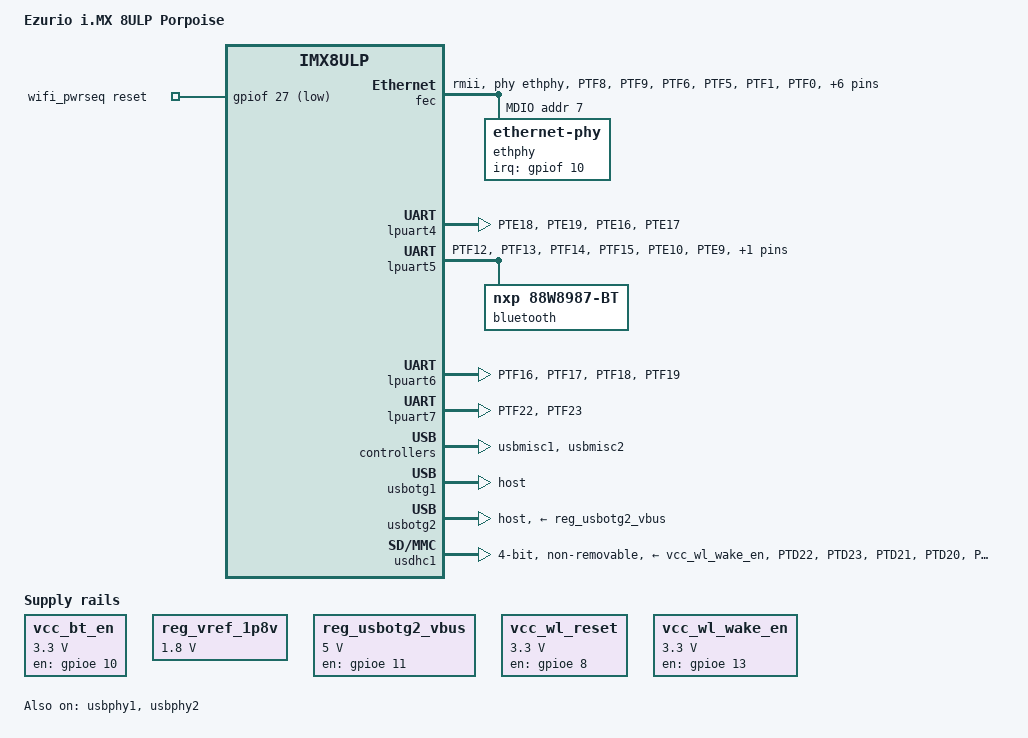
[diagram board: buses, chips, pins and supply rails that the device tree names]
// SPDX-License-Identifier: (GPL-2.0 OR MIT)
/*
 * Copyright 2024 Ezurio
 */

/dts-v1/;

#include "imx8ulp-nitrogen-som.dtsi"


/ {
	model = "Ezurio i.MX 8ULP Porpoise";
	compatible = "ezurio,imx8ulp-trimble-porpoise", "fsl,imx8ulp";

	chosen {
		stdout-path = &lpuart7;
		bootargs = "console=ttyLP3,115200 earlycon";
	};

	vcc_bt_en: regulator-bt-en {
		bootph-all;
		compatible = "regulator-fixed";
		regulator-name = "vcc_bt_en";
		regulator-min-microvolt = <3300000>;
		regulator-max-microvolt = <3300000>;
		regulator-boot-on;
		enable-active-high;
		gpios = <&gpioe 10 GPIO_ACTIVE_HIGH>; /* BT_EN */
	};

	reg_vref_1p8v: regulator-vref-1p8v {
		compatible = "regulator-fixed";
		regulator-name = "vref-1p8v";
		regulator-min-microvolt = <1800000>;
		regulator-max-microvolt = <1800000>;
	};

	reg_usbotg2_vbus: regulator-usbotg2-vbus {
		compatible = "regulator-fixed";
		pinctrl-names = "default";
		pinctrl-0 = <&pinctrl_reg_usbotg2_vbus>;
		regulator-name = "usb_otg2_vbus";
		regulator-min-microvolt = <5000000>;
		regulator-max-microvolt = <5000000>;
		regulator-boot-on;
		enable-active-high;
		gpio = <&gpioe 11 GPIO_ACTIVE_HIGH>; /* USB_VBUS_EN */
	};

	vcc_wl_reset: regulator-wl-reset-en {
		compatible = "regulator-fixed";
		pinctrl-names = "default";
		pinctrl-0 = <&pinctrl_main_wifi_reset>;
		regulator-name = "vcc_wl_reset";
		regulator-min-microvolt = <3300000>;
		regulator-max-microvolt = <3300000>;
		regulator-boot-on;
		enable-active-high;
		gpios = <&gpioe 8 GPIO_ACTIVE_HIGH>; /* WIFI_RESET */
	};

	vcc_wl_wake_en: regulator-wl-wake-en {
		compatible = "regulator-fixed";
		pinctrl-names = "default";
		pinctrl-0 = <&pinctrl_main_wifi_wake>;
		regulator-name = "vcc_wl_wake_en";
		regulator-min-microvolt = <3300000>;
		regulator-max-microvolt = <3300000>;
		regulator-boot-on;
		enable-active-high;
		gpios = <&gpioe 13 GPIO_ACTIVE_HIGH>; /* WL_WAKE_IN */
	};

	wifi_pwrseq: wifi-pwrseq {
		compatible = "mmc-pwrseq-simple";
		pinctrl-names = "default";
		pinctrl-0 = <&pinctrl_main_wifi_en>;
		reset-gpios = <&gpiof 27 GPIO_ACTIVE_LOW>; /* WIFI_PDn */
		post-power-on-delay-ms = <100>;
		status = "okay";
	};
};

&fec {
	pinctrl-names = "default";
	pinctrl-0 = <&pinctrl_fec>;
	clocks = <&cgc1 IMX8ULP_CLK_XBAR_DIVBUS>,
		 <&pcc4 IMX8ULP_CLK_ENET>,
		 <&cgc1 IMX8ULP_CLK_ENET_TS_SEL>;
	clock-names = "ipg", "ahb", "ptp";
	phy-mode = "rmii";
	phy-handle = <&ethphy>;
	status = "okay";
#if 0
	phy-reset-gpios = <&gpiof 11 GPIO_ACTIVE_LOW>; /* PHY_RST */
#endif

	mdio {
		#address-cells = <1>;
		#size-cells = <0>;

		ethphy: ethernet-phy@7 {
			interrupts-extended = <&gpiof 10 IRQ_TYPE_LEVEL_LOW>; /* PHY_INT */
			reg = <7>;
		};
	};
};

&gpiod {
	gpio-line-names = "", "", "", "", "", 						/* 0-4 */
			"", "", "", "", "",						/* 5-9 */
			"", "WAKE_RADIO", "Fastboot", "ENA_MOD", "STAT",		/* 10-14 */
			"SERVICE", "BAND_MODE", "TX_ON", "", "",			/* 15-19 */
			"", "", "", "";							/* 20-23 */
};

&gpioe {
	gpio-line-names = "", "", "", "", "",						/* 0-4 */
			"", "WL_IRQ", "STM_USART_EN", "WIFI_RESET", "BT_HOST_WAKE",	/* 5-9 */
			"BT_EN", "USB_VBUS_EN", "BT_WAKE_IN", "WL_WAKE_IN", "HW_RST",	/* 10-14 */
			"HW_WAKE", "", "", "", "",					/* 15-19 */
			"LYRA_RST", "LYRA_BOOT", "HW_BUSY", "MIKI_VCCIO_EN";		/* 20-23 */
};

&gpiof {
	gpio-line-names = "", "", "", "", "",   					/* 0-4 */
			"", "", "", "", "",						/* 5-9 */
			"PHY_INT", "PHY_RST", "", "", "",				/* 10-14 */
			"", "", "", "", "", 						/* 15-19 */
			"STM_RESET", "PH3_BOOT", "", "", "Single_Ant_Port_EN1",		/* 20-24 */
			"8ULP_LTE_SHDN", "1pps_EN", "WIFI_PDn", "WL_WAKE_OUT", "TP13",	/* 25-29 */
			"USB_SW", "TP16";						/* 30-31 */
};

&haptics {
	status = "disabled";
};

&hd3ss3220 {
	status = "disabled";
};

&lpi2c5 {
	status = "disabled";
};

&lpi2c6 {
	status = "disabled";
};

&iomuxc1 {
	/delete-property/ pinctrl_hog_som; /* Override imx8ulp-nitrogen-som.dtsi */

	pinctrl_hog_som: hog-somgrp {
		fsl,pins = <
			MX8ULP_PAD_PTD11__PTD11		0x03	/* WAKE_RADIO */
			MX8ULP_PAD_PTD12__PTD12		0x03	/* Fastboot */
			MX8ULP_PAD_PTD13__PTD13		0x03	/* ENA_MOD */
			MX8ULP_PAD_PTD14__PTD14		0x03	/* STAT */
			MX8ULP_PAD_PTD15__PTD15		0x03	/* SERVICE */
			MX8ULP_PAD_PTD16__PTD16		0x03	/* BAND_MODE */
			MX8ULP_PAD_PTD17__PTD17		0x03	/* TX_ON */

			MX8ULP_PAD_PTE7__PTE7		0x03	/* STM_USART_EN */
			MX8ULP_PAD_PTE23__PTE23		0x03	/* MIKI_VCCIO_EN */

			/* LYRA */
			MX8ULP_PAD_PTE20__PTE20		0x03	/* LYRA_RST */
			MX8ULP_PAD_PTE21__PTE21		0x03	/* LYRA_BOOT */
			MX8ULP_PAD_PTF26__PTF26		0x03	/* 1pps_EN */

			MX8ULP_PAD_PTF29__PTF29		0x7	/* TP13 */
			MX8ULP_PAD_PTF30__PTF30		0x7	/* USB_SW */
			MX8ULP_PAD_PTF31__PTF31		0x7	/* TP16 */

			MX8ULP_PAD_PTF20__PTF20		0x02	/* STM_RESET (pull-down ) */
			MX8ULP_PAD_PTF21__PTF21		0x03	/* PH3_BOOT */
			MX8ULP_PAD_PTF24__PTF24		0x03	/* Single_Ant_Port_EN1 */
			MX8ULP_PAD_PTF25__PTF25		0x03	/* 8ULP_LTE_SHDN */
		>;
	};

	pinctrl_bt: btgrp {
		fsl,pins = <
			MX8ULP_PAD_PTE10__PTE10		0x03	/* BT_EN */
			MX8ULP_PAD_PTE9__PTE9		0x03	/* BT_HOST_WAKE */
			MX8ULP_PAD_PTE12__PTE12		0x03	/* BT_WAKE_IN */
		>;
	};

	pinctrl_fec: fecgrp {
		fsl,pins = <
			MX8ULP_PAD_PTF8__ENET0_MDIO	0x43
			MX8ULP_PAD_PTF9__ENET0_MDC	0x43
			MX8ULP_PAD_PTF6__ENET0_CRS_DV	0x43
			MX8ULP_PAD_PTF5__ENET0_RXER	0x43
			MX8ULP_PAD_PTF1__ENET0_RXD0	0x43
			MX8ULP_PAD_PTF0__ENET0_RXD1	0x43
			MX8ULP_PAD_PTF4__ENET0_TXEN	0x43
			MX8ULP_PAD_PTF3__ENET0_TXD0	0x43
			MX8ULP_PAD_PTF2__ENET0_TXD1	0x43
			MX8ULP_PAD_PTF7__ENET0_REFCLK	0x10043
			MX8ULP_PAD_PTF11__PTF11		0x7
			MX8ULP_PAD_PTF10__PTF10		0x7
		>;
	};

	pinctrl_lpuart4: lpuart4grp {
		fsl,pins = <
			MX8ULP_PAD_PTE18__LPUART4_TX	0x03
			MX8ULP_PAD_PTE19__LPUART4_RX	0x03
			MX8ULP_PAD_PTE16__LPUART4_CTS_B	0x03
			MX8ULP_PAD_PTE17__LPUART4_RTS_B 0x03
		>;
	};

	pinctrl_lpuart5: lpuart5grp {
		fsl,pins = <
			MX8ULP_PAD_PTF12__LPUART5_CTS_B	0x03
			MX8ULP_PAD_PTF13__LPUART5_RTS_B	0x03
			MX8ULP_PAD_PTF14__LPUART5_TX	0x03
			MX8ULP_PAD_PTF15__LPUART5_RX	0x03
		>;
	};

	pinctrl_lpuart6: lpuart6grp {
		fsl,pins = <
			MX8ULP_PAD_PTF16__LPUART6_CTS_B	0x03
			MX8ULP_PAD_PTF17__LPUART6_RTS_B	0x03
			MX8ULP_PAD_PTF18__LPUART6_TX	0x03
			MX8ULP_PAD_PTF19__LPUART6_RX	0x03
		>;
	};

	pinctrl_lpuart7: lpuart7grp {
		fsl,pins = <
			MX8ULP_PAD_PTF22__LPUART7_TX	0x03
			MX8ULP_PAD_PTF23__LPUART7_RX	0x03
		>;
	};

	pinctrl_usdhc1: usdhc1grp {
		fsl,pins = <
			MX8ULP_PAD_PTD22__SDHC1_CLK	0x10002
			MX8ULP_PAD_PTD23__SDHC1_CMD	0x03
			MX8ULP_PAD_PTD21__SDHC1_D0	0x03
			MX8ULP_PAD_PTD20__SDHC1_D1	0x03
			MX8ULP_PAD_PTD19__SDHC1_D2	0x03
			MX8ULP_PAD_PTD18__SDHC1_D3	0x03
		>;
	};

	pinctrl_usdhc2: usdhc2grp {
		fsl,pins = <
			MX8ULP_PAD_PTE2__SDHC2_CLK	0x10002
			MX8ULP_PAD_PTE3__SDHC2_CMD	0x03
			MX8ULP_PAD_PTE1__SDHC2_D0	0x03
			MX8ULP_PAD_PTE0__SDHC2_D1	0x03
			MX8ULP_PAD_PTE5__SDHC2_D2	0x03
			MX8ULP_PAD_PTE4__SDHC2_D3	0x03
		>;
	};

	pinctrl_main_wifi: wifigrp {
		fsl,pins = <
			MX8ULP_PAD_PTE6__PTE6		0x03	/* WL_IRQ */
		>;
	};

	pinctrl_main_wifi_en: mainwifiengrp {
		fsl,pins = <
			MX8ULP_PAD_PTF27__PTF27		0x03	/* WIFI_PDn */
		>;
	};

	pinctrl_main_wifi_reset: mainwifiresetgrp {
		fsl,pins = <
			MX8ULP_PAD_PTE8__PTE8		0x03	/* WIFI_RESET */
		>;
	};

	pinctrl_main_wifi_wake: mainwifiwakeingrp {
		fsl,pins = <
			MX8ULP_PAD_PTE13__PTE13		0x03	/* WL_WAKE_IN */
			MX8ULP_PAD_PTF28__PTF28		0x03	/* WL_WAKE_OUT */
		>;
	};

	pinctrl_reg_usbotg2_vbus: regusbotg2vbusgrp {
		fsl,pins = <
			MX8ULP_PAD_PTE11__PTE11		0x03	/* USB_VBUS_EN */
		>;
	};

	pinctrl_sxsdmah: mm610xgrp {
		fsl,pins = <
			MX8ULP_PAD_PTE14__PTE14		0x03	/* HW_RST */
			MX8ULP_PAD_PTE15__PTE15		0x03	/* HW_WAKE */
			MX8ULP_PAD_PTE22__PTE22		0x03	/* HW_BUSY */
		>;
	};
};

&lpuart4 {
	/* ttyLP0 M_UART (B2B) */
	pinctrl-names = "default", "sleep";
	pinctrl-0 = <&pinctrl_lpuart4>;
	pinctrl-1 = <&pinctrl_lpuart4>;
	uart-has-rtscts;
	status = "okay";
};

&lpuart5 {
	/* ttyLP1 NX611 BT */
	pinctrl-names = "default", "sleep";
	pinctrl-0 = <&pinctrl_lpuart5>,<&pinctrl_bt>;
	pinctrl-1 = <&pinctrl_lpuart5>,<&pinctrl_bt>;
	uart-has-rtscts;
	status = "okay";

	bluetooth {
		compatible = "nxp,88w8987-bt";
	};
};

&lpuart6 {
	/* ttyLP2 ZIF(UHF) */
	pinctrl-names = "default", "sleep";
	pinctrl-0 = <&pinctrl_lpuart6>;
	pinctrl-1 = <&pinctrl_lpuart6>;
	uart-has-rtscts;
	status = "okay";
};

&lpuart7 {
	/* ttyLP3 console */
	/delete-property/ dmas;
	/delete-property/ dma-names;
	pinctrl-names = "default", "sleep";
	pinctrl-0 = <&pinctrl_lpuart7>;
	pinctrl-1 = <&pinctrl_lpuart7>;
	status = "okay";
};

&usbmisc1 {
	status = "okay";
};

&usbotg1 { /* USB0 / MAIN_USB (ZIF) */
	dr_mode = "host";
	status = "okay";
};

&usbphy1 {
	fsl,tx-d-cal = <88>;
	status = "okay";
};

&usbmisc2 {
	status = "okay";
};

&usbotg2 { /* USB1 / LTE_USB (B2B) */
	dr_mode = "host";
	status = "okay";
	vbus-supply = <&reg_usbotg2_vbus>;
};

&usbphy2 {
	fsl,tx-d-cal = <88>;
	status = "okay";
};

&usdhc1 { /* Wifi NX611 */
	bus-width = <4>;
	non-removable;
	pinctrl-names = "default", "state_100mhz", "state_200mhz";
	pinctrl-0 = <&pinctrl_usdhc1>,<&pinctrl_main_wifi>;
	pinctrl-1 = <&pinctrl_usdhc1>,<&pinctrl_main_wifi>;
	pinctrl-2 = <&pinctrl_usdhc1>,<&pinctrl_main_wifi>;
	vmmc-supply = <&vcc_wl_wake_en>; /* WL_WAKE_IN */
	vqmmc-supply = <&reg_vref_1p8v>;
	mmc-pwrseq = <&wifi_pwrseq>; /* WIFI_PDn */
	non-removable;
	status = "okay";
};

&usdhc2 { /* Wifi Halow */
	#address-cells = <1>;
	#size-cells = <0>;
	bus-width = <4>;
	non-removable;
	no-sd;
	fsl,sdio-async-interrupt-enabled;
	sdhci-caps-mask = <0x0 0x00080000>; /* disable ADMA2 */
	pinctrl-names = "default", "state_100mhz", "state_200mhz";
	pinctrl-0 = <&pinctrl_usdhc2>, <&pinctrl_sxsdmah>;
	pinctrl-1 = <&pinctrl_usdhc2>, <&pinctrl_sxsdmah>;
	pinctrl-2 = <&pinctrl_usdhc2>, <&pinctrl_sxsdmah>;
	vqmmc-supply = <&reg_vref_1p8v>;
	status = "disabled";

	sx_sdmah: sx-sdmah@0 {
		reg = <0>;
		compatible = "morse,mm610x";
		reset-gpios = <&gpioe 14 GPIO_ACTIVE_LOW>; /* HW_RST */
		power-gpios = <&gpioe 15 GPIO_ACTIVE_HIGH>, /* HW_WAKE */
			<&gpioe 22 GPIO_ACTIVE_HIGH>; /* HW_BUSY */
		status = "okay";
		bus-width = <4>;
	};
};
